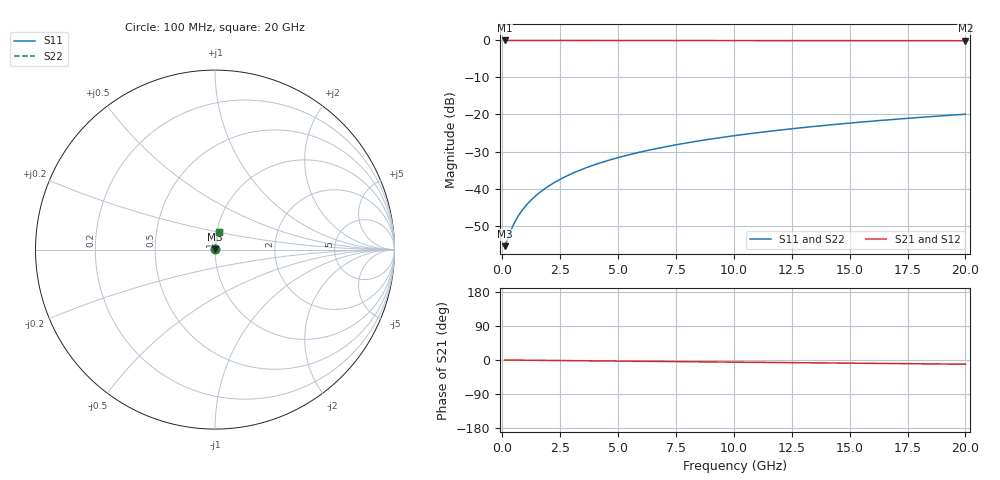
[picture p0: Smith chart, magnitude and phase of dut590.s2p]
! Touchstone file exported from HFSS 2026.1.0
!  File:  C:/ffzhzh/LocalFiles/Ansys_Project_Files/temp_train_BSMRDL_590_1783015861_4048.aedt
!  Generated:  02:12:23 AM Jul  3, 2026
!  Design:  BSMRDL
!  Project:  temp_train_BSMRDL_590_1783015861_4048
! Variables:
!  h_bsmrdl = 2.39um
!  h_ox = 20um
!  h_rdl = 5um
!  h_sub = 80um
!  h_tmrdl = 5um
!  h_tsv = 80um
!  h_via = 3um
!  l_bsmrdl = 145.11um
!  l_sub = 545.11um
!  l_tmrdl = 200um
!  m_sub = 200um
!  pitch = 31.39um
!  r_tsv = 6um
!  s_tmrdl = 10um
!  w_bsmrdl = 17.4um
!  w_sub = 500um
!  w_tmrdl = 12um
!  x_tsv_center1 = 206um
!  x_tsv_center2 = 368.51um
!  x_tsv_center3 = 580.51um
!  x_tsv_center4 = 743.02um
!  x_tsv_center5 = 955.02um
!  x_tsv_center6 = 1117.53um
# GHz S MA R 50.000000
! Terminal data exported
! Port[1] = BSM_RDL1_1_T1
! Port[2] = BSM_RDL1_1_T2
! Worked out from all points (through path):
!   200 points, 100 MHz to 20 GHz, reference 50 ohm
!   highest |S21| = -0.01 dB at 100 MHz (marker M1); lowest = -0.1 dB at 20 GHz (marker M2)
!   group delay of S21, straight-line fit = 1.54 ps
!   lowest |S11| = -55.6 dB at 100 MHz (marker M3), VSWR 1.00, Z = 50.2 + j0.0594 ohm
!   |S11| at or under -10 dB: start of sweep to end of sweep
!   |S22| runs from -55.6 to -19.9 dB; largest |S21 - S12| = 2e-15
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0.1  0.001667 20.8  0.9984 -0.1  0.9984 -0.1  0.001667 20.8
! Gamma 0 0 0 0
! Port Impedance 50 0 50 0
0.4  0.002854 53.8  0.9983 -0.2  0.9983 -0.2  0.002854 53.8
0.5  0.003335 58.6  0.9983 -0.3  0.9983 -0.3  0.003335 58.6
0.6  0.003823 62.1  0.9982 -0.4  0.9982 -0.4  0.003823 62.1
0.7  0.004313 64.8  0.9982 -0.4  0.9982 -0.4  0.004313 64.8
0.9  0.005295 68.7  0.9981 -0.5  0.9981 -0.5  0.005295 68.7
1.1  0.006281 71.5  0.9981 -0.6  0.9981 -0.6  0.006281 71.5
1.3  0.007273 73.5  0.998 -0.7  0.998 -0.7  0.007273 73.5
1.7  0.009276 76.4  0.9979 -1.0  0.9979 -1.0  0.009276 76.4
2.2  0.01181 78.6  0.9979 -1.2  0.9979 -1.2  0.01181 78.6
2.8  0.01487 80.2  0.9978 -1.6  0.9978 -1.6  0.01487 80.2
3.5  0.01846 81.2  0.9976 -2.0  0.9976 -2.0  0.01846 81.2
4.2  0.02206 81.7  0.9975 -2.4  0.9975 -2.4  0.02206 81.7
5  0.02617 82.0  0.9973 -2.8  0.9973 -2.8  0.02617 82.0
5.9  0.03078 82.1  0.9971 -3.3  0.9971 -3.3  0.03078 82.1
6.8  0.03539 82.0  0.9968 -3.8  0.9968 -3.8  0.03539 82.0
8.3  0.04303 81.6  0.9963 -4.7  0.9963 -4.7  0.04303 81.6
10.1  0.05213 81.0  0.9956 -5.7  0.9956 -5.7  0.05213 81.0
11.7  0.06015 80.3  0.9949 -6.5  0.9949 -6.5  0.06015 80.3
13.4  0.06861 79.5  0.9941 -7.5  0.9941 -7.5  0.06861 79.5
16.7  0.08483 78.0  0.9923 -9.3  0.9923 -9.3  0.08483 78.0
20  0.1008 76.3  0.9903 -11.1  0.9903 -11.1  0.1008 76.3
